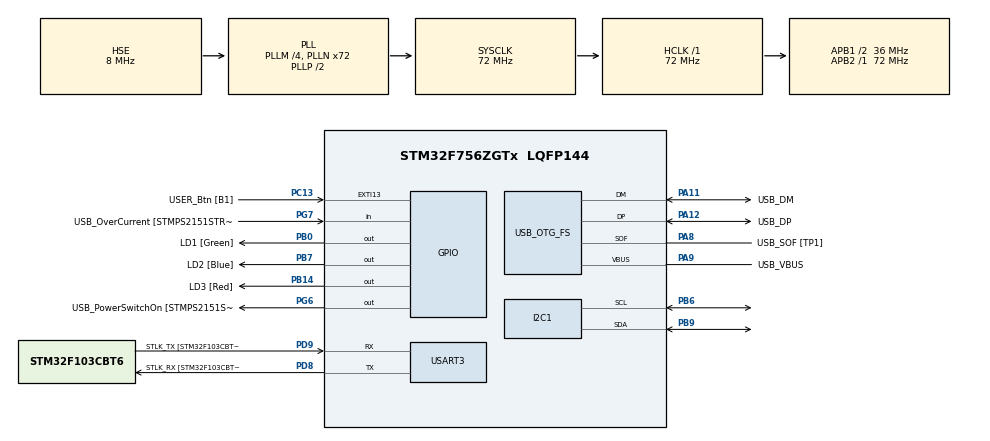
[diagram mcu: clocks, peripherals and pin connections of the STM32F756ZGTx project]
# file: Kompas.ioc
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I2C1.Timing=0x00808CD2
Mcu.Family=STM32F7
Mcu.Name=STM32F756ZGTx
Mcu.Package=LQFP144
NVIC.PriorityGroup=NVIC_PRIORITYGROUP_4
PA1.GPIO_Label=RMII_REF_CLK [LAN8742A-CZ-TR_REFCLK0]
PA1.Signal=ETH_REF_CLK
PA10.GPIO_Label=USB_ID
PA10.Signal=USB_OTG_FS_ID
PA11.GPIO_Label=USB_DM
PA11.Mode=Device_Only
PA11.Signal=USB_OTG_FS_DM
PA12.GPIO_Label=USB_DP
PA12.Mode=Device_Only
PA12.Signal=USB_OTG_FS_DP
PA13.GPIO_Label=TMS
PA13.Mode=Serial_Wire
PA13.Signal=SYS_JTMS-SWDIO
PA14.GPIO_Label=TCK
PA14.Mode=Serial_Wire
PA14.Signal=SYS_JTCK-SWCLK
PA2.GPIO_Label=RMII_MDIO [LAN8742A-CZ-TR_MDIO]
PA2.Signal=ETH_MDIO
PA7.GPIO_Label=RMII_CRS_DV [LAN8742A-CZ-TR_CRS_DV]
PA7.Signal=ETH_CRS_DV
PA8.GPIO_Label=USB_SOF [TP1]
PA8.Mode=Activate_SOF_FS
PA8.Signal=USB_OTG_FS_SOF
PA9.GPIO_Label=USB_VBUS
PA9.Mode=Activate_VBUS
PA9.Signal=USB_OTG_FS_VBUS
PB0.GPIO_Label=LD1 [Green]
PB0.Signal=GPIO_Output
PB13.GPIO_Label=RMII_TXD1 [LAN8742A-CZ-TR_TXD1]
PB13.Signal=ETH_TXD1
PB14.GPIO_Label=LD3 [Red]
PB14.Signal=GPIO_Output
PB3.GPIO_Label=SW0
PB3.Signal=SYS_JTDO-SWO
PB6.Mode=I2C
PB6.Signal=I2C1_SCL
PB7.GPIO_Label=LD2 [Blue]
PB7.Signal=GPIO_Output
PB9.Mode=I2C
PB9.Signal=I2C1_SDA
PC1.GPIO_Label=RMII_MDC [LAN8742A-CZ-TR_MDC]
PC1.Signal=ETH_MDC
PC13.GPIO_Label=USER_Btn [B1]
PC13.Signal=GPXTI13
PC14/OSC32_IN.Mode=LSE-External-Oscillator
PC14/OSC32_IN.Signal=RCC_OSC32_IN
PC15/OSC32_OUT.Mode=LSE-External-Oscillator
PC15/OSC32_OUT.Signal=RCC_OSC32_OUT
PC4.GPIO_Label=RMII_RXD0 [LAN8742A-CZ-TR_RXD0]
PC4.Signal=ETH_RXD0
PC5.GPIO_Label=RMII_RXD1 [LAN8742A-CZ-TR_RXD1]
PC5.Signal=ETH_RXD1
PD8.GPIO_Label=STLK_RX [STM32F103CBT6_PA3]
PD8.Mode=Asynchronous
PD8.Signal=USART3_TX
PD9.GPIO_Label=STLK_TX [STM32F103CBT6_PA2]
PD9.Mode=Asynchronous
PD9.Signal=USART3_RX
PG11.GPIO_Label=RMII_TX_EN [LAN8742A-CZ-TR_TXEN]
PG11.Signal=ETH_TX_EN
PG13.GPIO_Label=RMII_TXD0 [LAN8742A-CZ-TR_TXD0]
PG13.Signal=ETH_TXD0
PG6.GPIO_Label=USB_PowerSwitchOn [STMPS2151STR_EN]
PG6.Signal=GPIO_Output
PG7.GPIO_Label=USB_OverCurrent [STMPS2151STR_FAULT]
PG7.Signal=GPIO_Input
PH0/OSC_IN.GPIO_Label=MCO [STM32F103CBT6_PA8]
PH0/OSC_IN.Mode=HSE-External-Clock-Source
PH0/OSC_IN.Signal=RCC_OSC_IN
PH1/OSC_OUT.Mode=HSE-External-Clock-Source
PH1/OSC_OUT.Signal=RCC_OSC_OUT
ProjectManager.HeapSize=0x200
ProjectManager.StackSize=0x400
ProjectManager.TargetToolchain=STM32CubeIDE
RCC.48MHZClocksFreq_Value=24000000
RCC.AHBFreq_Value=72000000
RCC.APB1CLKDivider=RCC_HCLK_DIV2
RCC.APB1Freq_Value=36000000
RCC.APB1TimFreq_Value=72000000
RCC.APB2Freq_Value=72000000
RCC.APB2TimFreq_Value=72000000
RCC.CortexFreq_Value=72000000
RCC.HCLKFreq_Value=72000000
RCC.HSE_VALUE=8000000
RCC.HSI_VALUE=16000000
RCC.PLLM=4
RCC.PLLMUL=RCC_PLL_MUL9
RCC.PLLN=72
RCC.PLLQ=3
RCC.PRESCALERUSB=RCC_USBCLKSOURCE_PLL_DIV1_5
RCC.SYSCLKFreq_VALUE=72000000
RCC.SYSCLKSource=RCC_SYSCLKSOURCE_PLLCLK
RCC.SYSCLKSourceVirtual=RCC_SYSCLKSOURCE_PLLCLK
RCC.USBFreq_Value=48000000
RCC.VCOOutputFreq_Value=144000000
USART3.VirtualMode-Asynchronous=VM_ASYNC
USB_OTG_FS.VirtualMode=Device_Only
board=NUCLEO-F756ZG

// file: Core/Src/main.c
/* USER CODE BEGIN Header */
/**
  ******************************************************************************
  * @file           : main.c
  * @brief          : Main program body
  ******************************************************************************
  * @attention
  *
  * Copyright (c) 2022 STMicroelectronics.
  * All rights reserved.
  *
  * This software is licensed under terms that can be found in the LICENSE file
  * in the root directory of this software component.
  * If no LICENSE file comes with this software, it is provided AS-IS.
  *
  ******************************************************************************
  */
/* USER CODE END Header */
#include "main.h"
#include "i2c.h"
#include "usart.h"
#include "usb_otg.h"
#include "gpio.h"

/* USER CODE BEGIN Includes */
#include "math.h"
/* USER CODE END Includes */

/* USER CODE BEGIN PV */
uint8_t init_data=0x00;
uint8_t read[6];
int16_t Xaxis,Yaxis,Zaxis;
float pomiar=0;
/* USER CODE END PV */

void SystemClock_Config(void);

int main(void)
{

  /* MCU Configuration--------------------------------------------------------*/

  /* Reset of all peripherals, Initializes the Flash interface and the Systick. */
  HAL_Init();

  /* Configure the system clock */
  SystemClock_Config();

  /* Initialize all configured peripherals */
  MX_GPIO_Init();
  MX_USART3_UART_Init();
  MX_USB_OTG_FS_PCD_Init();
  MX_I2C1_Init();
  /* USER CODE BEGIN 2 */
  HAL_I2C_Mem_Write(&hi2c1, 0x3C<<1, 0x02, 1, &init_data, 1, 100);
  /* USER CODE END 2 */

  /* Infinite loop */
  /* USER CODE BEGIN WHILE */
  while (1)
  {
	  HAL_I2C_Mem_Read(&hi2c1, 0x3D<<1, 0x09, 1, &read, 1, 100);
	  if((read[0]&0x01)==1)
	  {
		  HAL_I2C_Mem_Read(&hi2c1, 0x3D<<1, 0x03, 1, &read, 6, 100);
		  Xaxis=read[0]<<8+read[1];
		  Yaxis=read[2]<<8+read[3];
		  Zaxis=read[4]<<8+read[5];
		  pomiar=atan2f(Yaxis,Xaxis)*180/3.14;
		  if(pomiar<0)
		  {
			  pomiar=360+pomiar;
		  }
	  }
	  HAL_Delay(50);
    /* USER CODE END WHILE */

  }
}

void SystemClock_Config(void)
{
  RCC_OscInitTypeDef RCC_OscInitStruct = {0};
  RCC_ClkInitTypeDef RCC_ClkInitStruct = {0};

  /** Configure LSE Drive Capability
  */
  HAL_PWR_EnableBkUpAccess();

  /** Configure the main internal regulator output voltage
  */
  __HAL_RCC_PWR_CLK_ENABLE();
  __HAL_PWR_VOLTAGESCALING_CONFIG(PWR_REGULATOR_VOLTAGE_SCALE3);

  /** Initializes the RCC Oscillators according to the specified parameters
  * in the RCC_OscInitTypeDef structure.
  */
  RCC_OscInitStruct.OscillatorType = RCC_OSCILLATORTYPE_HSE;
  RCC_OscInitStruct.HSEState = RCC_HSE_BYPASS;
  RCC_OscInitStruct.PLL.PLLState = RCC_PLL_ON;
  RCC_OscInitStruct.PLL.PLLSource = RCC_PLLSOURCE_HSE;
  RCC_OscInitStruct.PLL.PLLM = 4;
  RCC_OscInitStruct.PLL.PLLN = 72;
  RCC_OscInitStruct.PLL.PLLP = RCC_PLLP_DIV2;
  RCC_OscInitStruct.PLL.PLLQ = 3;
  if (HAL_RCC_OscConfig(&RCC_OscInitStruct) != HAL_OK)
  {
    Error_Handler();
  }

  /** Initializes the CPU, AHB and APB buses clocks
  */
  RCC_ClkInitStruct.ClockType = RCC_CLOCKTYPE_HCLK|RCC_CLOCKTYPE_SYSCLK
                              |RCC_CLOCKTYPE_PCLK1|RCC_CLOCKTYPE_PCLK2;
  RCC_ClkInitStruct.SYSCLKSource = RCC_SYSCLKSOURCE_PLLCLK;
  RCC_ClkInitStruct.AHBCLKDivider = RCC_SYSCLK_DIV1;
  RCC_ClkInitStruct.APB1CLKDivider = RCC_HCLK_DIV2;
  RCC_ClkInitStruct.APB2CLKDivider = RCC_HCLK_DIV1;

  if (HAL_RCC_ClockConfig(&RCC_ClkInitStruct, FLASH_LATENCY_2) != HAL_OK)
  {
    Error_Handler();
  }
}

void Error_Handler(void)
{
  __disable_irq();
  while (1)
  {
  }
}
